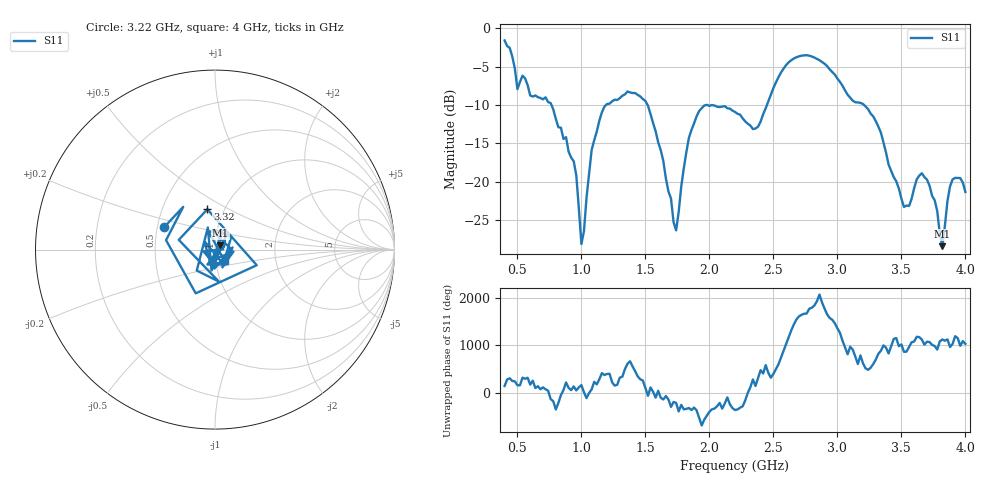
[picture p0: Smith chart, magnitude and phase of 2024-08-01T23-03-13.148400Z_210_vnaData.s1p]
!Created with skrf (http://scikit-rf.org).
# Hz S RI R 50.0
!freq ReS11 ImS11
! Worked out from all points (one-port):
!   181 points, 400 MHz to 4 GHz, reference 50 ohm
!   lowest |S11| = -28.4 dB at 3.82 GHz (marker M1), VSWR 1.08, Z = 52.9 + j2.64 ohm
!   |S11| at or under -10 dB: 1.517 GHz to 1.976 GHz (458.4 MHz wide, 26.3 % of centre); 1.983 GHz to 2.45 GHz (466.7 MHz wide, 21.1 % of centre); 3.208 GHz to end of sweep (the widest 3 of 4)
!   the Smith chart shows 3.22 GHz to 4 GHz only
!   S11 on the Smith chart (normalised r, x): 3.22 GHz: 0.54, +0.15; 3.32 GHz: 0.83, +0.39; 4 GHz: 1.11, -0.15
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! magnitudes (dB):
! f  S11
! 400 MHz  -1.6
! 500 MHz  -7.9
! 540 MHz  -6.2
! 720 MHz  -9.0
! 860 MHz  -14.4
! 960 MHz  -19.2
! 1 GHz  -28.1
! 1.08 GHz  -15.8
! 1.14 GHz  -12.0
! 1.3 GHz  -9.1
! 1.52 GHz  -10.1
! 1.72 GHz  -25.2
! 1.76 GHz  -23.9
! 1.84 GHz  -14.3
! 1.92 GHz  -10.8
! 2.2 GHz  -10.9
! 2.38 GHz  -12.8
! 2.66 GHz  -4.0
! 2.86 GHz  -4.2
! 3.1 GHz  -9.1
! 3.22 GHz  -10.2
! 3.32 GHz  -12.8
! 3.56 GHz  -23.1
! 3.66 GHz  -18.9
! 3.76 GHz  -22.4
! 3.82 GHz  -28.4
! 3.9 GHz  -19.7
! 4 GHz  -21.3
